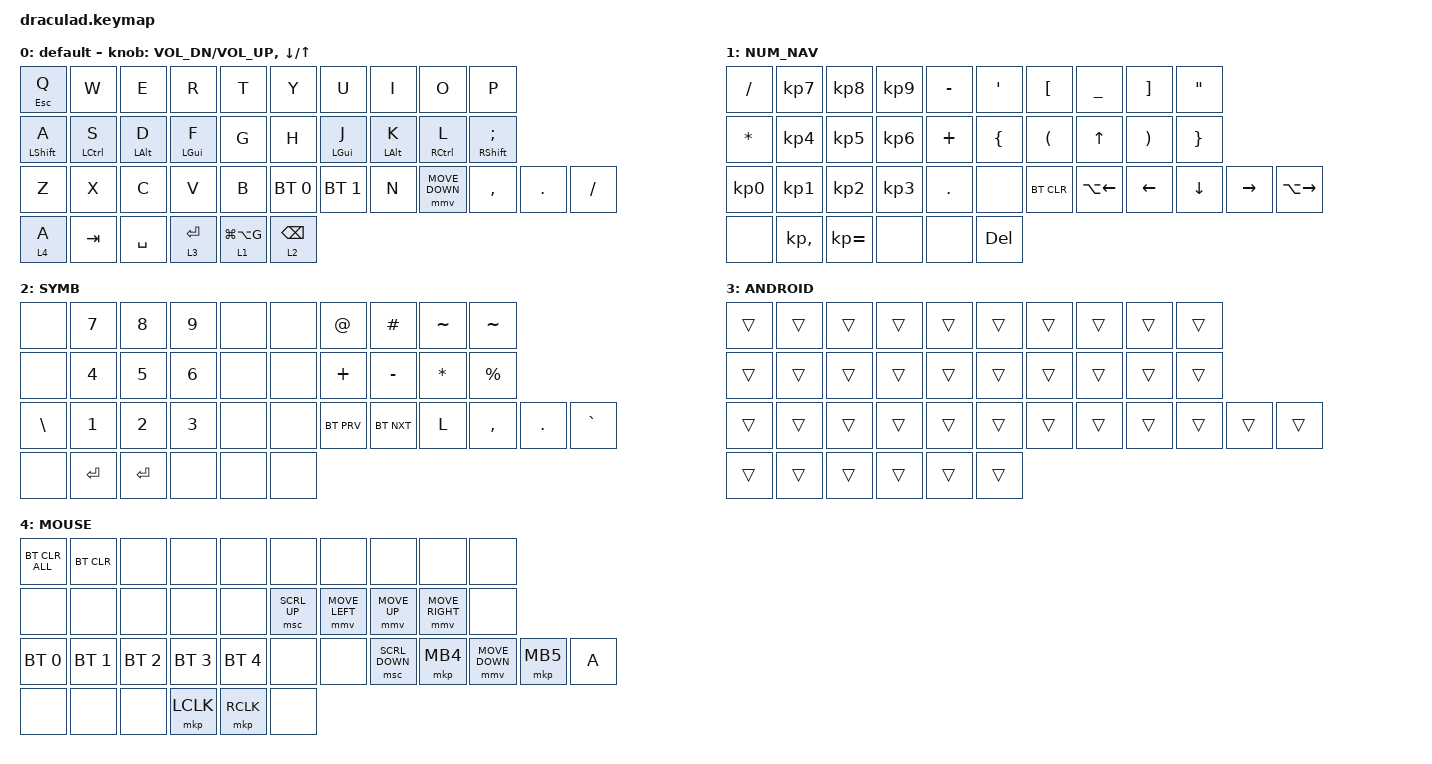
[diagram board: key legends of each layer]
/*
 * Copyright (c) 2020 The ZMK Contributors
 *
 * SPDX-License-Identifier: MIT
 */

#include <behaviors.dtsi>
#include <dt-bindings/zmk/bt.h>
#include <dt-bindings/zmk/keys.h>
#include <dt-bindings/zmk/pointing.h>

// Layers

#define DEFAULT 0
#define NUM_NAV 1
#define SYMB 2
#define ANDROID 3
#define MOUSE 4

/ {
    behaviors {
        hml: home_row_mod_left {
            compatible = "zmk,behavior-hold-tap";
            #binding-cells = <2>;
            flavor = "balanced";
            require-prior-idle-ms = <150>;
            tapping-term-ms = <200>;
            quick-tap-ms = <175>;
            bindings = <&kp>, <&kp>;

            hold-trigger-key-positions = <17 18 19 20>;
            hold-trigger-on-release;
        };

        hmr: home_row_mod_right {
            compatible = "zmk,behavior-hold-tap";
            #binding-cells = <2>;
            flavor = "balanced";
            require-prior-idle-ms = <150>;
            tapping-term-ms = <200>;
            quick-tap-ms = <175>;
            bindings = <&kp>, <&kp>;

            hold-trigger-key-positions = <10 11 12 13>;
            hold-trigger-on-release;
        };

        hm: homerow_mods {
            compatible = "zmk,behavior-hold-tap";
            label = "HOMEROW_MODS";
            #binding-cells = <2>;
            tapping-term-ms = <200>;
            quick-tap-ms = <0>;
            flavor = "balanced";
            bindings = <&kp>, <&kp>;
        };

        hplt: hold_preferred-lt {
            compatible = "zmk,behavior-hold-tap";
            label = "HOLD_PREFERRED_LT";
            #binding-cells = <2>;
            tapping-term-ms = <195>;
            quick-tap-ms = <0>;
            flavor = "hold-preferred";
            bindings = <&mo>, <&kp>;
        };

        hms: homerow_mod_shift {
            compatible = "zmk,behavior-hold-tap";
            label = "HOMEROW_MOD_SHIFT";
            #binding-cells = <2>;
            tapping-term-ms = <170>;
            quick-tap-ms = <0>;
            flavor = "balanced";
            bindings = <&kp>, <&kp>;
        };

        q_esc: q_esc {
            compatible = "zmk,behavior-hold-tap";
            label = "Q_ESC";
            bindings = <&kp>, <&kp>;

            #binding-cells = <2>;
            tapping-term-ms = <200>;
            flavor = "tap-preferred";
        };
    };

    combos {
        compatible = "zmk,combos";

        copy {
            bindings = <&kp LG(C)>;
            key-positions = <12 13>;
        };

        paste {
            bindings = <&kp LG(V)>;
            key-positions = <13 14>;
        };
    };

    keymap {
        compatible = "zmk,keymap";

        default {
            bindings = <
&q_esc ESC Q  &kp W         &kp E        &kp R        &kp T            &kp Y            &kp U         &kp I        &kp O         &kp P
&hms LSHFT A  &hm LCTRL S  &hm LALT D  &hm LGUI F  &kp G            &kp H            &hm LGUI J   &hm LALT K  &hm RCTRL L  &hms RSHFT SEMI
&kp Z         &kp X         &kp C        &kp V        &kp B            &bt BT_SEL 0     &bt BT_SEL 1  &kp N        &mmv MOVE_DOWN         &kp COMMA        &kp DOT  &kp FSLH
&lt 4 A       &kp TAB       &kp SPACE    &lt 3 ENTER  &lt 1 LG(LA(G))  &lt 2 BACKSPACE
            >;

            sensor-bindings = <&inc_dec_kp C_VOL_DN C_VOL_UP &inc_dec_kp DOWN UP>;
        };

        NUM_NAV {
            bindings = <
&kp SLASH        &kp KP_NUMBER_7  &kp KP_NUMBER_8  &kp KP_NUMBER_9  &kp MINUS  &kp SINGLE_QUOTE  &kp LEFT_BRACKET      &kp UNDERSCORE  &kp RIGHT_BRACKET  &kp DOUBLE_QUOTES
&kp ASTERISK     &kp KP_NUMBER_4  &kp KP_NUMBER_5  &kp KP_NUMBER_6  &kp PLUS   &kp LEFT_BRACE    &kp LEFT_PARENTHESIS  &kp UP          &kp RPAR           &kp RIGHT_BRACE
&kp KP_NUMBER_0  &kp KP_NUMBER_1  &kp KP_NUMBER_2  &kp KP_NUMBER_3  &kp DOT    &none             &bt BT_CLR            &kp LA(LEFT)    &kp LEFT           &kp DOWN           &kp RIGHT  &kp LA(RIGHT_ARROW)
&none            &kp KP_COMMA     &kp KP_EQUAL     &none            &none      &kp DEL
            >;
        };

        SYMB {
            bindings = <
&none          &kp N7   &kp N8   &kp N9  &none  &none  &kp AT      &kp HASH    &kp TILDE  &kp TILDE
&none          &kp N4   &kp N5   &kp N6  &none  &none  &kp PLUS    &kp MINUS   &kp STAR   &kp PRCNT
&kp BACKSLASH  &kp N1   &kp N2   &kp N3  &none  &none  &bt BT_PRV  &bt BT_NXT  &kp L      &kp COMMA  &kp DOT  &kp GRAVE
&none          &kp RET  &kp RET  &none   &none  &none
            >;
        };

        ANDROID {
            bindings = <
&trans  &trans  &trans  &trans  &trans  &trans  &trans  &trans  &trans  &trans
&trans  &trans  &trans  &trans  &trans  &trans  &trans  &trans  &trans  &trans
&trans  &trans  &trans  &trans  &trans  &trans  &trans  &trans  &trans  &trans  &trans  &trans
&trans  &trans  &trans  &trans  &trans  &trans
            >;
        };

        MOUSE {
            bindings = <
&bt BT_CLR_ALL  &bt BT_CLR    &none         &none         &none                                       &none         &none           &none           &none            &none
&none           &none         &none         &none         &none                                       &msc SCRL_UP  &mmv MOVE_LEFT  &mmv MOVE_UP    &mmv MOVE_RIGHT  &none
&bt BT_SEL 0    &bt BT_SEL 1  &bt BT_SEL 2  &bt BT_SEL 3  &bt BT_SEL 4  &none         &none           &msc SCRL_DOWN  &mkp MB4         &mmv MOVE_DOWN  &mkp MB5  &kp A
&none           &none         &none         &mkp LCLK     &mkp RCLK     &none
            >;
        };
    };
};
